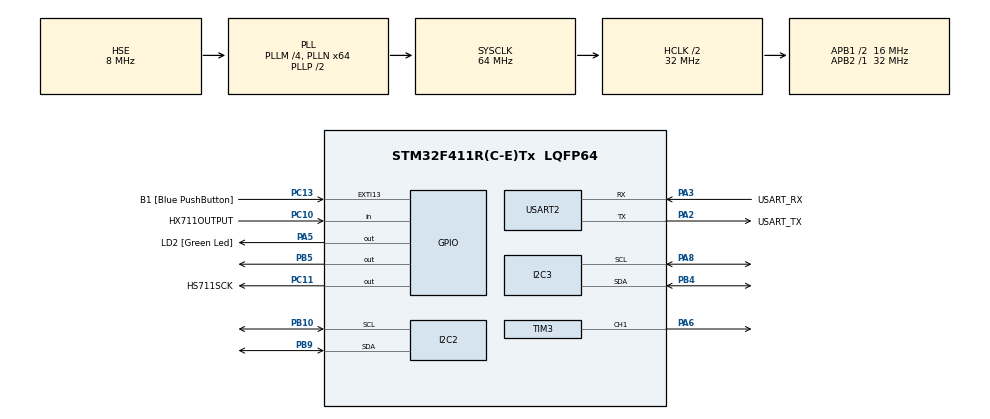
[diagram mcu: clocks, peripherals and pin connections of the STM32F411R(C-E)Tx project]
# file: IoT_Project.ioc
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FREERTOS.BinarySemaphores01=myBinarySem01,Dynamic,NULL
FREERTOS.Tasks01=defaultTask,24,128,StartDefaultTask,Default,NULL,Dynamic,NULL,NULL
Mcu.Family=STM32F4
Mcu.Name=STM32F411R(C-E)Tx
Mcu.Package=LQFP64
NVIC.PriorityGroup=NVIC_PRIORITYGROUP_4
NVIC.TIM1_UP_TIM10_IRQn=true\:0\:0\:false\:false\:true\:false\:false\:true
NVIC.TimeBase=TIM1_UP_TIM10_IRQn
NVIC.TimeBaseIP=TIM1
PA13.GPIO_Label=TMS
PA13.Mode=Serial_Wire
PA13.Signal=SYS_JTMS-SWDIO
PA14.GPIO_Label=TCK
PA14.Mode=Serial_Wire
PA14.Signal=SYS_JTCK-SWCLK
PA2.GPIO_Label=USART_TX
PA2.Mode=Asynchronous
PA2.Signal=USART2_TX
PA3.GPIO_Label=USART_RX
PA3.Mode=Asynchronous
PA3.Signal=USART2_RX
PA5.GPIO_Label=LD2 [Green Led]
PA5.Signal=GPIO_Output
PA6.Signal=S_TIM3_CH1
PA8.Mode=I2C
PA8.Signal=I2C3_SCL
PB10.Mode=I2C
PB10.Signal=I2C2_SCL
PB3.GPIO_Label=SWO
PB3.Signal=SYS_JTDO-SWO
PB4.Mode=I2C
PB4.Signal=I2C3_SDA
PB5.Signal=GPIO_Output
PB9.Mode=I2C
PB9.Signal=I2C2_SDA
PC10.GPIO_Label=HX711OUTPUT
PC10.Signal=GPIO_Input
PC11.GPIO_Label=HS711SCK
PC11.Signal=GPIO_Output
PC13-ANTI_TAMP.GPIO_Label=B1 [Blue PushButton]
PC13-ANTI_TAMP.GPIO_ModeDefaultEXTI=GPIO_MODE_IT_FALLING
PC13-ANTI_TAMP.Signal=GPXTI13
PC14-OSC32_IN.Mode=LSE-External-Oscillator
PC14-OSC32_IN.Signal=RCC_OSC32_IN
PC15-OSC32_OUT.Mode=LSE-External-Oscillator
PC15-OSC32_OUT.Signal=RCC_OSC32_OUT
PH0\ -\ OSC_IN.Mode=HSE-External-Clock-Source
PH0\ -\ OSC_IN.Signal=RCC_OSC_IN
PH1\ -\ OSC_OUT.Mode=HSE-External-Clock-Source
PH1\ -\ OSC_OUT.Signal=RCC_OSC_OUT
ProjectManager.HeapSize=0x200
ProjectManager.StackSize=0x400
ProjectManager.TargetToolchain=STM32CubeIDE
RCC.48MHZClocksFreq_Value=32000000
RCC.AHBCLKDivider=RCC_SYSCLK_DIV2
RCC.AHBFreq_Value=32000000
RCC.APB1CLKDivider=RCC_HCLK_DIV2
RCC.APB1Freq_Value=16000000
RCC.APB1TimFreq_Value=32000000
RCC.APB2Freq_Value=32000000
RCC.APB2TimFreq_Value=32000000
RCC.CortexFreq_Value=32000000
RCC.FLatency-AdvancedSettings=FLASH_LATENCY_1
RCC.HCLKFreq_Value=32000000
RCC.HSE_VALUE=8000000
RCC.HSI_VALUE=16000000
RCC.PLLM=4
RCC.PLLN=64
RCC.PLLSourceVirtual=RCC_PLLSOURCE_HSE
RCC.SYSCLKFreq_VALUE=64000000
RCC.SYSCLKSource=RCC_SYSCLKSOURCE_PLLCLK
RCC.VCOOutputFreq_Value=128000000
SH.S_TIM3_CH1.0=TIM3_CH1,PWM Generation1 CH1
TIM3.Channel-PWM\ Generation1\ CH1=TIM_CHANNEL_1
TIM3.Period=199
TIM3.Prescaler=3199
USART2.VirtualMode=VM_ASYNC
VP_FREERTOS_VS_CMSIS_V2.Mode=CMSIS_V2
VP_SYS_VS_tim1.Mode=TIM1
VP_TIM3_VS_ClockSourceINT.Mode=Internal
board=NUCLEO-F411RE

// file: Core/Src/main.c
/* USER CODE BEGIN Header */
/**
  ******************************************************************************
  * @file           : main.c
  * @brief          : Main program body
  ******************************************************************************
  * @attention
  *
  * <h2><center>&copy; Copyright (c) 2020 STMicroelectronics.
  * All rights reserved.</center></h2>
  *
  * This software component is licensed by ST under BSD 3-Clause license,
  * the "License"; You may not use this file except in compliance with the
  * License. You may obtain a copy of the License at:
  *                        opensource.org/licenses/BSD-3-Clause
  *
  ******************************************************************************
  */
/* USER CODE END Header */
#include "main.h"
#include "cmsis_os.h"

/* USER CODE BEGIN Includes */
#include "DS1302.h"
#include "hx711.h"
/* USER CODE END Includes */

I2C_HandleTypeDef hi2c2;
I2C_HandleTypeDef hi2c3;

TIM_HandleTypeDef htim3;

UART_HandleTypeDef huart2;

/* Definitions for defaultTask */
osThreadId_t defaultTaskHandle;
const osThreadAttr_t defaultTask_attributes = {
  .name = "defaultTask",
  .priority = (osPriority_t) osPriorityNormal,
  .stack_size = 128 * 4
};
/* Definitions for myBinarySem01 */
osSemaphoreId_t myBinarySem01Handle;
const osSemaphoreAttr_t myBinarySem01_attributes = {
  .name = "myBinarySem01"
};

void SystemClock_Config(void);
static void MX_GPIO_Init(void);
static void MX_USART2_UART_Init(void);
static void MX_I2C2_Init(void);
static void MX_I2C3_Init(void);
static void MX_TIM3_Init(void);
void StartDefaultTask(void *argument);

/* USER CODE BEGIN PFP */
void vSecondTask(void *argument);
/* USER CODE END PFP */

/* USER CODE BEGIN 0 */
osThreadId_t secondTaskHandle;
const osThreadAttr_t secondTask_attributes = { .name = "secondTask", .priority =
		(osPriority_t) osPriorityNormal, .stack_size = 128 * 4 };
/* USER CODE END 0 */

int main(void)
{

  /* MCU Configuration--------------------------------------------------------*/

  /* Reset of all peripherals, Initializes the Flash interface and the Systick. */
  HAL_Init();

  /* Configure the system clock */
  SystemClock_Config();

  /* Initialize all configured peripherals */
  MX_GPIO_Init();
  MX_USART2_UART_Init();
  MX_I2C2_Init();
  MX_I2C3_Init();
  MX_TIM3_Init();
  /* USER CODE BEGIN 2 */
  DS1302_Init();
  HAL_TIM_PWM_Start(&htim3, TIM_CHANNEL_1);
  /* USER CODE END 2 */

  /* Init scheduler */
  osKernelInitialize();

  /* Create the semaphores(s) */
  /* creation of myBinarySem01 */
  myBinarySem01Handle = osSemaphoreNew(1, 1, &myBinarySem01_attributes);

  /* Create the thread(s) */
  /* creation of defaultTask */
  defaultTaskHandle = osThreadNew(StartDefaultTask, NULL, &defaultTask_attributes);

  /* USER CODE BEGIN RTOS_THREADS */
  /* add threads, ... */
  secondTaskHandle = osThreadNew(vSecondTask, NULL, &secondTask_attributes);
  /* USER CODE END RTOS_THREADS */

  /* Start scheduler */
  osKernelStart();

  /* We should never get here as control is now taken by the scheduler */
  /* Infinite loop */
  while (1)
  {

  }
}

void SystemClock_Config(void)
{
  RCC_OscInitTypeDef RCC_OscInitStruct = {0};
  RCC_ClkInitTypeDef RCC_ClkInitStruct = {0};

  /** Configure the main internal regulator output voltage
  */
  __HAL_RCC_PWR_CLK_ENABLE();
  __HAL_PWR_VOLTAGESCALING_CONFIG(PWR_REGULATOR_VOLTAGE_SCALE1);
  /** Initializes the RCC Oscillators according to the specified parameters
  * in the RCC_OscInitTypeDef structure.
  */
  RCC_OscInitStruct.OscillatorType = RCC_OSCILLATORTYPE_HSE;
  RCC_OscInitStruct.HSEState = RCC_HSE_BYPASS;
  RCC_OscInitStruct.PLL.PLLState = RCC_PLL_ON;
  RCC_OscInitStruct.PLL.PLLSource = RCC_PLLSOURCE_HSE;
  RCC_OscInitStruct.PLL.PLLM = 4;
  RCC_OscInitStruct.PLL.PLLN = 64;
  RCC_OscInitStruct.PLL.PLLP = RCC_PLLP_DIV2;
  RCC_OscInitStruct.PLL.PLLQ = 4;
  if (HAL_RCC_OscConfig(&RCC_OscInitStruct) != HAL_OK)
  {
    Error_Handler();
  }
  /** Initializes the CPU, AHB and APB buses clocks
  */
  RCC_ClkInitStruct.ClockType = RCC_CLOCKTYPE_HCLK|RCC_CLOCKTYPE_SYSCLK
                              |RCC_CLOCKTYPE_PCLK1|RCC_CLOCKTYPE_PCLK2;
  RCC_ClkInitStruct.SYSCLKSource = RCC_SYSCLKSOURCE_PLLCLK;
  RCC_ClkInitStruct.AHBCLKDivider = RCC_SYSCLK_DIV2;
  RCC_ClkInitStruct.APB1CLKDivider = RCC_HCLK_DIV2;
  RCC_ClkInitStruct.APB2CLKDivider = RCC_HCLK_DIV1;

  if (HAL_RCC_ClockConfig(&RCC_ClkInitStruct, FLASH_LATENCY_1) != HAL_OK)
  {
    Error_Handler();
  }
}

static void MX_I2C2_Init(void)
{

  hi2c2.Instance = I2C2;
  hi2c2.Init.ClockSpeed = 100000;
  hi2c2.Init.DutyCycle = I2C_DUTYCYCLE_2;
  hi2c2.Init.OwnAddress1 = 0;
  hi2c2.Init.AddressingMode = I2C_ADDRESSINGMODE_7BIT;
  hi2c2.Init.DualAddressMode = I2C_DUALADDRESS_DISABLE;
  hi2c2.Init.OwnAddress2 = 0;
  hi2c2.Init.GeneralCallMode = I2C_GENERALCALL_DISABLE;
  hi2c2.Init.NoStretchMode = I2C_NOSTRETCH_DISABLE;
  if (HAL_I2C_Init(&hi2c2) != HAL_OK)
  {
    Error_Handler();
  }

}

static void MX_I2C3_Init(void)
{

  hi2c3.Instance = I2C3;
  hi2c3.Init.ClockSpeed = 100000;
  hi2c3.Init.DutyCycle = I2C_DUTYCYCLE_2;
  hi2c3.Init.OwnAddress1 = 0;
  hi2c3.Init.AddressingMode = I2C_ADDRESSINGMODE_7BIT;
  hi2c3.Init.DualAddressMode = I2C_DUALADDRESS_DISABLE;
  hi2c3.Init.OwnAddress2 = 0;
  hi2c3.Init.GeneralCallMode = I2C_GENERALCALL_DISABLE;
  hi2c3.Init.NoStretchMode = I2C_NOSTRETCH_DISABLE;
  if (HAL_I2C_Init(&hi2c3) != HAL_OK)
  {
    Error_Handler();
  }

}

static void MX_TIM3_Init(void)
{

  TIM_ClockConfigTypeDef sClockSourceConfig = {0};
  TIM_MasterConfigTypeDef sMasterConfig = {0};
  TIM_OC_InitTypeDef sConfigOC = {0};

  htim3.Instance = TIM3;
  htim3.Init.Prescaler = 3199;
  htim3.Init.CounterMode = TIM_COUNTERMODE_UP;
  htim3.Init.Period = 199;
  htim3.Init.ClockDivision = TIM_CLOCKDIVISION_DIV1;
  htim3.Init.AutoReloadPreload = TIM_AUTORELOAD_PRELOAD_DISABLE;
  if (HAL_TIM_Base_Init(&htim3) != HAL_OK)
  {
    Error_Handler();
  }
  sClockSourceConfig.ClockSource = TIM_CLOCKSOURCE_INTERNAL;
  if (HAL_TIM_ConfigClockSource(&htim3, &sClockSourceConfig) != HAL_OK)
  {
    Error_Handler();
  }
  if (HAL_TIM_PWM_Init(&htim3) != HAL_OK)
  {
    Error_Handler();
  }
  sMasterConfig.MasterOutputTrigger = TIM_TRGO_RESET;
  sMasterConfig.MasterSlaveMode = TIM_MASTERSLAVEMODE_DISABLE;
  if (HAL_TIMEx_MasterConfigSynchronization(&htim3, &sMasterConfig) != HAL_OK)
  {
    Error_Handler();
  }
  sConfigOC.OCMode = TIM_OCMODE_PWM1;
  sConfigOC.Pulse = 0;
  sConfigOC.OCPolarity = TIM_OCPOLARITY_HIGH;
  sConfigOC.OCFastMode = TIM_OCFAST_DISABLE;
  if (HAL_TIM_PWM_ConfigChannel(&htim3, &sConfigOC, TIM_CHANNEL_1) != HAL_OK)
  {
    Error_Handler();
  }
  HAL_TIM_MspPostInit(&htim3);

}

static void MX_USART2_UART_Init(void)
{

  huart2.Instance = USART2;
  huart2.Init.BaudRate = 115200;
  huart2.Init.WordLength = UART_WORDLENGTH_8B;
  huart2.Init.StopBits = UART_STOPBITS_1;
  huart2.Init.Parity = UART_PARITY_NONE;
  huart2.Init.Mode = UART_MODE_TX_RX;
  huart2.Init.HwFlowCtl = UART_HWCONTROL_NONE;
  huart2.Init.OverSampling = UART_OVERSAMPLING_16;
  if (HAL_UART_Init(&huart2) != HAL_OK)
  {
    Error_Handler();
  }

}

static void MX_GPIO_Init(void)
{
  GPIO_InitTypeDef GPIO_InitStruct = {0};

  /* GPIO Ports Clock Enable */
  __HAL_RCC_GPIOC_CLK_ENABLE();
  __HAL_RCC_GPIOH_CLK_ENABLE();
  __HAL_RCC_GPIOA_CLK_ENABLE();
  __HAL_RCC_GPIOB_CLK_ENABLE();

  /*Configure GPIO pin Output Level */
  HAL_GPIO_WritePin(LD2_GPIO_Port, LD2_Pin, GPIO_PIN_RESET);

  /*Configure GPIO pin Output Level */
  HAL_GPIO_WritePin(HS711SCK_GPIO_Port, HS711SCK_Pin, GPIO_PIN_RESET);

  /*Configure GPIO pin Output Level */
  HAL_GPIO_WritePin(GPIOB, GPIO_PIN_5, GPIO_PIN_RESET);

  /*Configure GPIO pin : B1_Pin */
  GPIO_InitStruct.Pin = B1_Pin;
  GPIO_InitStruct.Mode = GPIO_MODE_IT_FALLING;
  GPIO_InitStruct.Pull = GPIO_NOPULL;
  HAL_GPIO_Init(B1_GPIO_Port, &GPIO_InitStruct);

  /*Configure GPIO pin : LD2_Pin */
  GPIO_InitStruct.Pin = LD2_Pin;
  GPIO_InitStruct.Mode = GPIO_MODE_OUTPUT_PP;
  GPIO_InitStruct.Pull = GPIO_NOPULL;
  GPIO_InitStruct.Speed = GPIO_SPEED_FREQ_LOW;
  HAL_GPIO_Init(LD2_GPIO_Port, &GPIO_InitStruct);

  /*Configure GPIO pin : HX711OUTPUT_Pin */
  GPIO_InitStruct.Pin = HX711OUTPUT_Pin;
  GPIO_InitStruct.Mode = GPIO_MODE_INPUT;
  GPIO_InitStruct.Pull = GPIO_NOPULL;
  HAL_GPIO_Init(HX711OUTPUT_GPIO_Port, &GPIO_InitStruct);

  /*Configure GPIO pin : HS711SCK_Pin */
  GPIO_InitStruct.Pin = HS711SCK_Pin;
  GPIO_InitStruct.Mode = GPIO_MODE_OUTPUT_PP;
  GPIO_InitStruct.Pull = GPIO_NOPULL;
  GPIO_InitStruct.Speed = GPIO_SPEED_FREQ_LOW;
  HAL_GPIO_Init(HS711SCK_GPIO_Port, &GPIO_InitStruct);

  /*Configure GPIO pin : PB5 */
  GPIO_InitStruct.Pin = GPIO_PIN_5;
  GPIO_InitStruct.Mode = GPIO_MODE_OUTPUT_PP;
  GPIO_InitStruct.Pull = GPIO_NOPULL;
  GPIO_InitStruct.Speed = GPIO_SPEED_FREQ_LOW;
  HAL_GPIO_Init(GPIOB, &GPIO_InitStruct);

}

/* USER CODE BEGIN 4 */

void vSecondTask(void *argument) {
	HX711 hx11;
	hx11.gpioSck = HS711SCK_GPIO_Port;
	hx11.gpioData = HX711OUTPUT_GPIO_Port;
	hx11.pinSck = HS711SCK_Pin;
	hx11.pinData = HX711OUTPUT_Pin;
	hx11.offset = 0;
	hx11.gain = 128;
	HX711_Init(hx11);
	uint8_t masage[100];
	uint8_t masage2[100];
	int times = 10;
	volatile int meres = 0;
	volatile int meresAtlag =0;
	volatile int tarevalue=0;

	for (;;) {
		meres = HX711_Value(hx11);
		meres -= tarevalue;
		meres = meres*0.002139*2;
		osDelay(100);
//		HAL_UART_Transmit(&huart2, masage, sprintf(masage,"weight(gram) = %d\n\r", meres),1000);
		if(HAL_GPIO_ReadPin(GPIOC, GPIO_PIN_13)== GPIO_PIN_RESET)  {
			tarevalue = HX711_Average_Value(hx11, times);
		}
		if(meres > 500 && meres < 10000) {
			htim3.Instance->CCR1 = 15;
		}
	}
	vTaskDelete(NULL);
}

/* USER CODE END 4 */

void StartDefaultTask(void *argument)
{
  /* USER CODE BEGIN 5 */
	uint8_t time[10];
	uint8_t setTime[10];
	char buffer[100];
  /* Infinite loop */
  for(;;)
  {
    DS1302_ReadTime(&time);
//	sprintf(buffer, "this is a test,year: %d, month: %d, date: %d hour: %d, minutes: %d, seconds: %d\r\n",time[1], time[2], time[3], time[4], time[5], time[6]);
    sprintf(buffer, "hour: %d, minutes: %d, seconds: %d, day: %d \r\n",time[4], time[5], time[6], time[7]);
    HAL_UART_Transmit(&huart2, buffer, strlen(buffer), 1000);
    osDelay(1000);

    if(time[6] == 15 || time[6] == 45 || time[6] == 30) {
//		  for(int i=15;i<20;i++){
//			  htim3.Instance->CCR1 = i;
//			  HAL_Delay(100);
//		  }
    	htim3.Instance->CCR1 = 5;
    	osDelay(1000);
    }
  }
  /* USER CODE END 5 */
}

void HAL_TIM_PeriodElapsedCallback(TIM_HandleTypeDef *htim)
{
  if (htim->Instance == TIM1) {
    HAL_IncTick();
  }
}

void Error_Handler(void)
{
}

/************************ (C) COPYRIGHT STMicroelectronics *****END OF FILE****/
